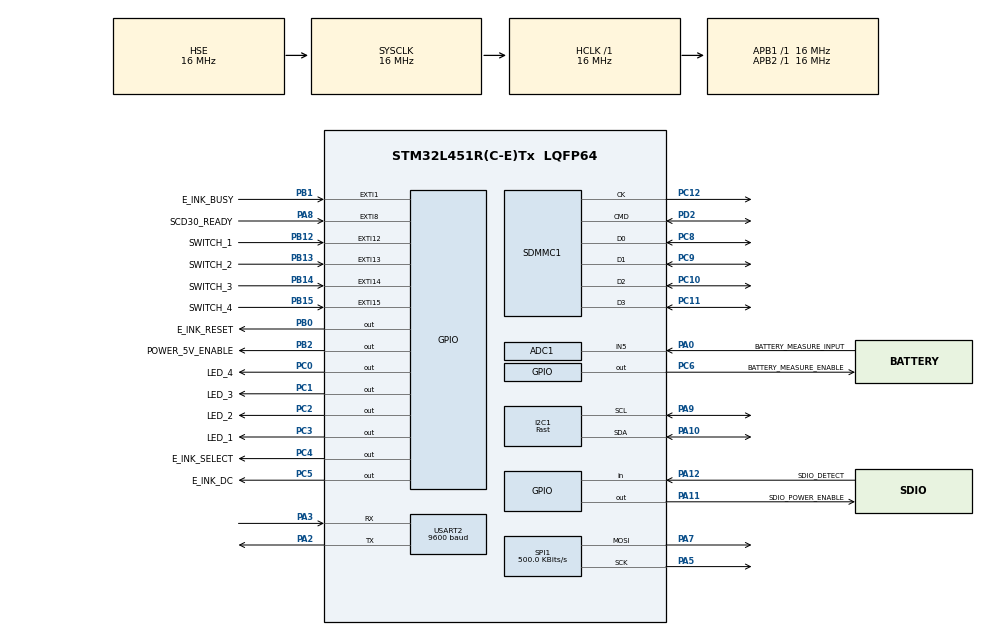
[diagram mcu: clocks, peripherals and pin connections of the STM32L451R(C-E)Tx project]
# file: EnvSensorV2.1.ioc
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ADC1.Channel-0\#ChannelRegularConversion=ADC_CHANNEL_5
ADC1.NbrOfConversionFlag=1
ADC1.OffsetNumber-0\#ChannelRegularConversion=ADC_OFFSET_NONE
ADC1.Rank-0\#ChannelRegularConversion=1
ADC1.SamplingTime-0\#ChannelRegularConversion=ADC_SAMPLETIME_2CYCLES_5
ADC1.master=1
Dma.Request0=SDMMC1_RX
Dma.SDMMC1_RX.0.Direction=DMA_PERIPH_TO_MEMORY
Dma.SDMMC1_RX.0.Instance=DMA2_Channel4
Dma.SDMMC1_RX.0.MemDataAlignment=DMA_MDATAALIGN_WORD
Dma.SDMMC1_RX.0.MemInc=DMA_MINC_ENABLE
Dma.SDMMC1_RX.0.Mode=DMA_NORMAL
Dma.SDMMC1_RX.0.PeriphDataAlignment=DMA_PDATAALIGN_WORD
Dma.SDMMC1_RX.0.PeriphInc=DMA_PINC_DISABLE
Dma.SDMMC1_RX.0.Priority=DMA_PRIORITY_LOW
FATFS.BSP.number=1
FATFS._USE_LFN=2
FATFS0.BSP.STBoard=false
FATFS0.BSP.api=Unknown
FATFS0.BSP.instance=PA12
FATFS0.BSP.ip=GPIO
FATFS0.BSP.mode=Input
FATFS0.BSP.name=Detect_SDIO
FATFS0.BSP.solution=PA12
FREERTOS.HEAP_NUMBER=3
FREERTOS.Mutexes01=i2c1Mutex,Static,i2c1MutexControlBlock,Available
FREERTOS.Queues01=debugLogQueue,16,30,1,Dynamic,NULL,NULL;sensorReadoutsQueue,6,ReadoutMessage_t,0,Dynamic,NULL,NULL;displayCommandsQueue,6,DisplayCommandMessage_t,0,Dynamic,NULL,NULL
FREERTOS.Tasks01=defaultTask,24,1024,StartDefaultTask,Default,NULL,Static,defaultTaskBuffer,defaultTaskControlBlock
FREERTOS.configTOTAL_HEAP_SIZE=1000
FREERTOS.configUSE_NEWLIB_REENTRANT=1
I2C1.I2C_Speed_Mode=I2C_Fast
I2C1.Timing=0x00300617
Mcu.Family=STM32L4
Mcu.Name=STM32L451R(C-E)Tx
Mcu.Package=LQFP64
NVIC.DMA2_Channel4_IRQn=true\:5\:0\:false\:false\:true\:true\:false\:true\:true
NVIC.EXTI15_10_IRQn=true\:5\:0\:false\:false\:true\:true\:true\:true\:true
NVIC.EXTI1_IRQn=true\:5\:0\:false\:false\:true\:true\:true\:true\:true
NVIC.EXTI9_5_IRQn=true\:5\:0\:false\:false\:true\:true\:true\:true\:true
NVIC.PriorityGroup=NVIC_PRIORITYGROUP_4
NVIC.SDMMC1_IRQn=true\:5\:0\:false\:false\:true\:true\:true\:true\:true
NVIC.TIM6_DAC_IRQn=true\:15\:0\:false\:false\:true\:false\:false\:true\:true
NVIC.TimeBase=TIM6_DAC_IRQn
NVIC.TimeBaseIP=TIM6
NVIC.USART2_IRQn=true\:5\:0\:false\:false\:true\:true\:true\:true\:true
PA0.GPIO_Label=BATTERY_MEASURE_INPUT
PA0.Signal=ADCx_IN5
PA10.Mode=I2C
PA10.Signal=I2C1_SDA
PA11.GPIO_Label=SDIO_POWER_ENABLE
PA11.PinState=GPIO_PIN_RESET
PA11.Signal=GPIO_Output
PA12.GPIO_Label=SDIO_DETECT
PA12.GPIO_PuPd=GPIO_PULLUP
PA12.Signal=GPIO_Input
PA13\ (JTMS/SWDIO).Mode=Trace_Asynchronous_SW
PA13\ (JTMS/SWDIO).Signal=SYS_JTMS-SWDIO
PA14\ (JTCK/SWCLK).Mode=Trace_Asynchronous_SW
PA14\ (JTCK/SWCLK).Signal=SYS_JTCK-SWCLK
PA2.Mode=Asynchronous
PA2.Signal=USART2_TX
PA3.Mode=Asynchronous
PA3.Signal=USART2_RX
PA5.Mode=TX_Only_Simplex_Unidirect_Master
PA5.Signal=SPI1_SCK
PA7.Mode=TX_Only_Simplex_Unidirect_Master
PA7.Signal=SPI1_MOSI
PA8.GPIO_Label=SCD30_READY
PA8.Signal=GPXTI8
PA9.Mode=I2C
PA9.Signal=I2C1_SCL
PB0.GPIO_Label=E_INK_RESET
PB0.Signal=GPIO_Output
PB1.GPIO_Label=E_INK_BUSY
PB1.Signal=GPXTI1
PB12.GPIO_Label=SWITCH_1
PB12.Signal=GPXTI12
PB13.GPIO_Label=SWITCH_2
PB13.Signal=GPXTI13
PB14.GPIO_Label=SWITCH_3
PB14.Signal=GPXTI14
PB15.GPIO_Label=SWITCH_4
PB15.Signal=GPXTI15
PB2.GPIO_Label=POWER_5V_ENABLE
PB2.PinState=GPIO_PIN_RESET
PB2.Signal=GPIO_Output
PB3\ (JTDO/TRACESWO).Mode=Trace_Asynchronous_SW
PB3\ (JTDO/TRACESWO).Signal=SYS_JTDO-SWO
PC0.GPIO_Label=LED_4
PC0.Signal=GPIO_Output
PC1.GPIO_Label=LED_3
PC1.Signal=GPIO_Output
PC10.GPIO_PuPd=GPIO_PULLUP
PC10.GPIO_Speed_High_Default=GPIO_SPEED_FREQ_LOW
PC10.Mode=SD_4_bits_Wide_bus
PC10.Signal=SDMMC1_D2
PC11.GPIO_PuPd=GPIO_PULLUP
PC11.GPIO_Speed_High_Default=GPIO_SPEED_FREQ_LOW
PC11.Mode=SD_4_bits_Wide_bus
PC11.Signal=SDMMC1_D3
PC12.GPIO_Speed_High_Default=GPIO_SPEED_FREQ_LOW
PC12.Mode=SD_4_bits_Wide_bus
PC12.Signal=SDMMC1_CK
PC14-OSC32_IN\ (PC14).Mode=LSE-External-Oscillator
PC14-OSC32_IN\ (PC14).Signal=RCC_OSC32_IN
PC15-OSC32_OUT\ (PC15).Mode=LSE-External-Oscillator
PC15-OSC32_OUT\ (PC15).Signal=RCC_OSC32_OUT
PC2.GPIO_Label=LED_2
PC2.Signal=GPIO_Output
PC3.GPIO_Label=LED_1
PC3.Signal=GPIO_Output
PC4.GPIO_Label=E_INK_SELECT
PC4.Signal=GPIO_Output
PC5.GPIO_Label=E_INK_DC
PC5.GPIO_Speed=GPIO_SPEED_FREQ_HIGH
PC5.Signal=GPIO_Output
PC6.GPIO_Label=BATTERY_MEASURE_ENABLE
PC6.Signal=GPIO_Output
PC8.GPIO_Speed_High_Default=GPIO_SPEED_FREQ_LOW
PC8.Mode=SD_4_bits_Wide_bus
PC8.Signal=SDMMC1_D0
PC9.GPIO_Speed_High_Default=GPIO_SPEED_FREQ_LOW
PC9.Mode=SD_4_bits_Wide_bus
PC9.Signal=SDMMC1_D1
PD2.GPIO_PuPd=GPIO_PULLUP
PD2.GPIO_Speed_High_Default=GPIO_SPEED_FREQ_LOW
PD2.Mode=SD_4_bits_Wide_bus
PD2.Signal=SDMMC1_CMD
PH0-OSC_IN\ (PH0).Mode=HSE-External-Oscillator
PH0-OSC_IN\ (PH0).Signal=RCC_OSC_IN
PH1-OSC_OUT\ (PH1).Mode=HSE-External-Oscillator
PH1-OSC_OUT\ (PH1).Signal=RCC_OSC_OUT
ProjectManager.HeapSize=0x200
ProjectManager.StackSize=0x400
ProjectManager.TargetToolchain=STM32CubeIDE
RCC.ADCFreq_Value=32000000
RCC.AHBFreq_Value=16000000
RCC.APB1Freq_Value=16000000
RCC.APB1TimFreq_Value=16000000
RCC.APB2Freq_Value=16000000
RCC.APB2TimFreq_Value=16000000
RCC.CK48CLockSelection=RCC_USBCLKSOURCE_HSI48
RCC.CortexFreq_Value=16000000
RCC.HCLKFreq_Value=16000000
RCC.HSE_VALUE=16000000
RCC.HSI48_VALUE=48000000
RCC.HSI_VALUE=16000000
RCC.LSE_Drive_Capability=RCC_LSEDRIVE_HIGH
RCC.LSE_Timout=10000
RCC.MSI_VALUE=4000000
RCC.PLLSAI1N=16
RCC.RCC_MCO1Source=RCC_MCO1SOURCE_LSI
RCC.RTCClockSelection=RCC_RTCCLKSOURCE_LSE
RCC.SYSCLKFreq_VALUE=16000000
RCC.SYSCLKSource=RCC_SYSCLKSOURCE_HSE
RCC.VCOOutputFreq_Value=32000000
SDMMC1.ClockDiv=4
SH.ADCx_IN5.0=ADC1_IN5,IN5-Single-Ended
SPI1.BaudRatePrescaler=SPI_BAUDRATEPRESCALER_32
SPI1.CalculateBaudRate=500.0 KBits/s
SPI1.DataSize=SPI_DATASIZE_8BIT
SPI1.Direction=SPI_DIRECTION_2LINES
SPI1.Mode=SPI_MODE_MASTER
SPI1.VirtualType=VM_MASTER
STMicroelectronics.X-CUBE-TOUCHGFX.4.24.0.ApplicationCcGraphicsJjApplication=TouchGFXOoGenerator
STMicroelectronics.X-CUBE-TOUCHGFX.4.24.0.tgfx_custom_height=300
STMicroelectronics.X-CUBE-TOUCHGFX.4.24.0.tgfx_custom_width=400
STMicroelectronics.X-CUBE-TOUCHGFX.4.24.0.tgfx_pixel_format=Grey2\:2
STMicroelectronics.X-CUBE-TOUCHGFX.4.24.0_IsPackSelfContextualization=true
USART2.BaudRate=9600
USART2.VirtualMode-Asynchronous=VM_ASYNC
VP_CRC_VS_CRC.Mode=CRC_Activate
VP_FATFS_VS_SDIO.Mode=SDIO
VP_FREERTOS_VS_CMSIS_V2.Mode=CMSIS_V2
VP_RTC_VS_RTC_Activate.Mode=RTC_Enabled
VP_STMicroelectronics.X-CUBE-TOUCHGFX_VS_GraphicsJjApplication_4.24.0.Mode=GraphicsJjApplication
VP_SYS_VS_tim6.Mode=TIM6
board=custom

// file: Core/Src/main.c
/* USER CODE BEGIN Header */
/**
  ******************************************************************************
  * @file           : main.c
  * @brief          : Main program body
  ******************************************************************************
  * @attention
  *
  * Copyright (c) 2024 STMicroelectronics.
  * All rights reserved.
  *
  * This software is licensed under terms that can be found in the LICENSE file
  * in the root directory of this software component.
  * If no LICENSE file comes with this software, it is provided AS-IS.
  *
  ******************************************************************************
  */
/* USER CODE END Header */
#include "main.h"
#include "cmsis_os.h"
#include "fatfs.h"
#include "app_touchgfx.h"

/* USER CODE BEGIN Includes */
#include <EnvSensorV2_1.hpp>
#include <Readouts/Collector/SensorMessages.hpp>
#include <Display/DisplayCommandMessage.hpp>
/* USER CODE END Includes */

typedef StaticTask_t osStaticThreadDef_t;
typedef StaticSemaphore_t osStaticMutexDef_t;

ADC_HandleTypeDef hadc1;

CRC_HandleTypeDef hcrc;

I2C_HandleTypeDef hi2c1;

RTC_HandleTypeDef hrtc;

SD_HandleTypeDef hsd1;
DMA_HandleTypeDef hdma_sdmmc1_rx;

SPI_HandleTypeDef hspi1;

UART_HandleTypeDef huart2;

/* Definitions for defaultTask */
osThreadId_t defaultTaskHandle;
uint32_t defaultTaskBuffer[ 1024 ];
osStaticThreadDef_t defaultTaskControlBlock;
const osThreadAttr_t defaultTask_attributes = {
  .name = "defaultTask",
  .cb_mem = &defaultTaskControlBlock,
  .cb_size = sizeof(defaultTaskControlBlock),
  .stack_mem = &defaultTaskBuffer[0],
  .stack_size = sizeof(defaultTaskBuffer),
  .priority = (osPriority_t) osPriorityNormal,
};
/* Definitions for debugLogQueue */
osMessageQueueId_t debugLogQueueHandle;
const osMessageQueueAttr_t debugLogQueue_attributes = {
  .name = "debugLogQueue"
};
/* Definitions for sensorReadoutsQueue */
osMessageQueueId_t sensorReadoutsQueueHandle;
const osMessageQueueAttr_t sensorReadoutsQueue_attributes = {
  .name = "sensorReadoutsQueue"
};
/* Definitions for displayCommandsQueue */
osMessageQueueId_t displayCommandsQueueHandle;
const osMessageQueueAttr_t displayCommandsQueue_attributes = {
  .name = "displayCommandsQueue"
};
/* Definitions for i2c1Mutex */
osMutexId_t i2c1MutexHandle;
osStaticMutexDef_t i2c1MutexControlBlock;
const osMutexAttr_t i2c1Mutex_attributes = {
  .name = "i2c1Mutex",
  .cb_mem = &i2c1MutexControlBlock,
  .cb_size = sizeof(i2c1MutexControlBlock),
};

void SystemClock_Config(void);
static void MX_GPIO_Init(void);
static void MX_DMA_Init(void);
static void MX_I2C1_Init(void);
static void MX_ADC1_Init(void);
static void MX_CRC_Init(void);
static void MX_SPI1_Init(void);
static void MX_USART2_UART_Init(void);
static void MX_SDMMC1_SD_Init(void);
static void MX_RTC_Init(void);
void StartDefaultTask(void *argument);

/* USER CODE BEGIN PFP */
	//Create config functions for rx and tx dma
    static HAL_StatusTypeDef SD_DMAConfigRx(SD_HandleTypeDef *hsd);
    static HAL_StatusTypeDef SD_DMAConfigTx(SD_HandleTypeDef *hsd);
/* USER CODE END PFP */

int main(void)
{

  /* MCU Configuration--------------------------------------------------------*/

  /* Reset of all peripherals, Initializes the Flash interface and the Systick. */
  HAL_Init();

  /* Configure the system clock */
  SystemClock_Config();

  /* Initialize all configured peripherals */
  MX_GPIO_Init();
  MX_DMA_Init();
  MX_I2C1_Init();
  MX_ADC1_Init();
  MX_CRC_Init();
  MX_SPI1_Init();
  MX_USART2_UART_Init();
  MX_FATFS_Init();
  MX_SDMMC1_SD_Init();
  MX_RTC_Init();
  MX_TouchGFX_Init();
  /* Call PreOsInit function */
  MX_TouchGFX_PreOSInit();
  /* USER CODE BEGIN 2 */

  HAL_PWREx_EnableBatteryCharging(PWR_BATTERY_CHARGING_RESISTOR_1_5);

  /* USER CODE END 2 */

  /* Init scheduler */
  osKernelInitialize();
  /* Create the mutex(es) */
  /* creation of i2c1Mutex */
  i2c1MutexHandle = osMutexNew(&i2c1Mutex_attributes);

  /* Create the queue(s) */
  /* creation of debugLogQueue */
  debugLogQueueHandle = osMessageQueueNew (16, 30, &debugLogQueue_attributes);

  /* creation of sensorReadoutsQueue */
  sensorReadoutsQueueHandle = osMessageQueueNew (6, sizeof(ReadoutMessage_t), &sensorReadoutsQueue_attributes);

  /* creation of displayCommandsQueue */
  displayCommandsQueueHandle = osMessageQueueNew (6, sizeof(DisplayCommandMessage_t), &displayCommandsQueue_attributes);

  /* Create the thread(s) */
  /* creation of defaultTask */
  defaultTaskHandle = osThreadNew(StartDefaultTask, NULL, &defaultTask_attributes);

  /* USER CODE BEGIN RTOS_THREADS */
  EnvSensorV2_1_Init();
  /* USER CODE END RTOS_THREADS */

  /* Start scheduler */
  osKernelStart();

  /* We should never get here as control is now taken by the scheduler */

  /* Infinite loop */
  while (1)
  {

  }
}

void SystemClock_Config(void)
{
  RCC_OscInitTypeDef RCC_OscInitStruct = {0};
  RCC_ClkInitTypeDef RCC_ClkInitStruct = {0};

  /** Configure the main internal regulator output voltage
  */
  if (HAL_PWREx_ControlVoltageScaling(PWR_REGULATOR_VOLTAGE_SCALE1) != HAL_OK)
  {
    Error_Handler();
  }

  /** Configure LSE Drive Capability
  */
  HAL_PWR_EnableBkUpAccess();
  __HAL_RCC_LSEDRIVE_CONFIG(RCC_LSEDRIVE_HIGH);

  /** Initializes the RCC Oscillators according to the specified parameters
  * in the RCC_OscInitTypeDef structure.
  */
  RCC_OscInitStruct.OscillatorType = RCC_OSCILLATORTYPE_HSI48|RCC_OSCILLATORTYPE_HSE
                              |RCC_OSCILLATORTYPE_LSE|RCC_OSCILLATORTYPE_MSI;
  RCC_OscInitStruct.HSEState = RCC_HSE_ON;
  RCC_OscInitStruct.LSEState = RCC_LSE_ON;
  RCC_OscInitStruct.HSI48State = RCC_HSI48_ON;
  RCC_OscInitStruct.MSIState = RCC_MSI_ON;
  RCC_OscInitStruct.MSICalibrationValue = 0;
  RCC_OscInitStruct.MSIClockRange = RCC_MSIRANGE_6;
  RCC_OscInitStruct.PLL.PLLState = RCC_PLL_NONE;
  if (HAL_RCC_OscConfig(&RCC_OscInitStruct) != HAL_OK)
  {
    Error_Handler();
  }

  /** Initializes the CPU, AHB and APB buses clocks
  */
  RCC_ClkInitStruct.ClockType = RCC_CLOCKTYPE_HCLK|RCC_CLOCKTYPE_SYSCLK
                              |RCC_CLOCKTYPE_PCLK1|RCC_CLOCKTYPE_PCLK2;
  RCC_ClkInitStruct.SYSCLKSource = RCC_SYSCLKSOURCE_HSE;
  RCC_ClkInitStruct.AHBCLKDivider = RCC_SYSCLK_DIV1;
  RCC_ClkInitStruct.APB1CLKDivider = RCC_HCLK_DIV1;
  RCC_ClkInitStruct.APB2CLKDivider = RCC_HCLK_DIV1;

  if (HAL_RCC_ClockConfig(&RCC_ClkInitStruct, FLASH_LATENCY_0) != HAL_OK)
  {
    Error_Handler();
  }

  /** Enable MSI Auto calibration
  */
  HAL_RCCEx_EnableMSIPLLMode();
}

static void MX_ADC1_Init(void)
{

  ADC_ChannelConfTypeDef sConfig = {0};

  /** Common config
  */
  hadc1.Instance = ADC1;
  hadc1.Init.ClockPrescaler = ADC_CLOCK_ASYNC_DIV1;
  hadc1.Init.Resolution = ADC_RESOLUTION_12B;
  hadc1.Init.DataAlign = ADC_DATAALIGN_RIGHT;
  hadc1.Init.ScanConvMode = ADC_SCAN_DISABLE;
  hadc1.Init.EOCSelection = ADC_EOC_SINGLE_CONV;
  hadc1.Init.LowPowerAutoWait = DISABLE;
  hadc1.Init.ContinuousConvMode = DISABLE;
  hadc1.Init.NbrOfConversion = 1;
  hadc1.Init.DiscontinuousConvMode = DISABLE;
  hadc1.Init.ExternalTrigConv = ADC_SOFTWARE_START;
  hadc1.Init.ExternalTrigConvEdge = ADC_EXTERNALTRIGCONVEDGE_NONE;
  hadc1.Init.DMAContinuousRequests = DISABLE;
  hadc1.Init.Overrun = ADC_OVR_DATA_PRESERVED;
  hadc1.Init.OversamplingMode = DISABLE;
  if (HAL_ADC_Init(&hadc1) != HAL_OK)
  {
    Error_Handler();
  }

  /** Configure Regular Channel
  */
  sConfig.Channel = ADC_CHANNEL_5;
  sConfig.Rank = ADC_REGULAR_RANK_1;
  sConfig.SamplingTime = ADC_SAMPLETIME_2CYCLES_5;
  sConfig.SingleDiff = ADC_SINGLE_ENDED;
  sConfig.OffsetNumber = ADC_OFFSET_NONE;
  sConfig.Offset = 0;
  if (HAL_ADC_ConfigChannel(&hadc1, &sConfig) != HAL_OK)
  {
    Error_Handler();
  }

}

static void MX_CRC_Init(void)
{

  hcrc.Instance = CRC;
  hcrc.Init.DefaultPolynomialUse = DEFAULT_POLYNOMIAL_ENABLE;
  hcrc.Init.DefaultInitValueUse = DEFAULT_INIT_VALUE_ENABLE;
  hcrc.Init.InputDataInversionMode = CRC_INPUTDATA_INVERSION_NONE;
  hcrc.Init.OutputDataInversionMode = CRC_OUTPUTDATA_INVERSION_DISABLE;
  hcrc.InputDataFormat = CRC_INPUTDATA_FORMAT_BYTES;
  if (HAL_CRC_Init(&hcrc) != HAL_OK)
  {
    Error_Handler();
  }

}

static void MX_I2C1_Init(void)
{

  hi2c1.Instance = I2C1;
  hi2c1.Init.Timing = 0x00300617;
  hi2c1.Init.OwnAddress1 = 0;
  hi2c1.Init.AddressingMode = I2C_ADDRESSINGMODE_7BIT;
  hi2c1.Init.DualAddressMode = I2C_DUALADDRESS_DISABLE;
  hi2c1.Init.OwnAddress2 = 0;
  hi2c1.Init.OwnAddress2Masks = I2C_OA2_NOMASK;
  hi2c1.Init.GeneralCallMode = I2C_GENERALCALL_DISABLE;
  hi2c1.Init.NoStretchMode = I2C_NOSTRETCH_DISABLE;
  if (HAL_I2C_Init(&hi2c1) != HAL_OK)
  {
    Error_Handler();
  }

  /** Configure Analogue filter
  */
  if (HAL_I2CEx_ConfigAnalogFilter(&hi2c1, I2C_ANALOGFILTER_ENABLE) != HAL_OK)
  {
    Error_Handler();
  }

  /** Configure Digital filter
  */
  if (HAL_I2CEx_ConfigDigitalFilter(&hi2c1, 0) != HAL_OK)
  {
    Error_Handler();
  }

}

static void MX_RTC_Init(void)
{

  /** Initialize RTC Only
  */
  hrtc.Instance = RTC;
  hrtc.Init.HourFormat = RTC_HOURFORMAT_24;
  hrtc.Init.AsynchPrediv = 127;
  hrtc.Init.SynchPrediv = 255;
  hrtc.Init.OutPut = RTC_OUTPUT_DISABLE;
  hrtc.Init.OutPutRemap = RTC_OUTPUT_REMAP_NONE;
  hrtc.Init.OutPutPolarity = RTC_OUTPUT_POLARITY_HIGH;
  hrtc.Init.OutPutType = RTC_OUTPUT_TYPE_OPENDRAIN;
  if (HAL_RTC_Init(&hrtc) != HAL_OK)
  {
    Error_Handler();
  }

}

static void MX_SDMMC1_SD_Init(void)
{

  hsd1.Instance = SDMMC1;
  hsd1.Init.ClockEdge = SDMMC_CLOCK_EDGE_RISING;
  hsd1.Init.ClockBypass = SDMMC_CLOCK_BYPASS_DISABLE;
  hsd1.Init.ClockPowerSave = SDMMC_CLOCK_POWER_SAVE_DISABLE;
  hsd1.Init.BusWide = SDMMC_BUS_WIDE_4B;
  hsd1.Init.HardwareFlowControl = SDMMC_HARDWARE_FLOW_CONTROL_DISABLE;
  hsd1.Init.ClockDiv = 4;

}

static void MX_SPI1_Init(void)
{

  /* SPI1 parameter configuration*/
  hspi1.Instance = SPI1;
  hspi1.Init.Mode = SPI_MODE_MASTER;
  hspi1.Init.Direction = SPI_DIRECTION_2LINES;
  hspi1.Init.DataSize = SPI_DATASIZE_8BIT;
  hspi1.Init.CLKPolarity = SPI_POLARITY_LOW;
  hspi1.Init.CLKPhase = SPI_PHASE_1EDGE;
  hspi1.Init.NSS = SPI_NSS_SOFT;
  hspi1.Init.BaudRatePrescaler = SPI_BAUDRATEPRESCALER_32;
  hspi1.Init.FirstBit = SPI_FIRSTBIT_MSB;
  hspi1.Init.TIMode = SPI_TIMODE_DISABLE;
  hspi1.Init.CRCCalculation = SPI_CRCCALCULATION_DISABLE;
  hspi1.Init.CRCPolynomial = 7;
  hspi1.Init.CRCLength = SPI_CRC_LENGTH_DATASIZE;
  hspi1.Init.NSSPMode = SPI_NSS_PULSE_ENABLE;
  if (HAL_SPI_Init(&hspi1) != HAL_OK)
  {
    Error_Handler();
  }

}

static void MX_USART2_UART_Init(void)
{

  huart2.Instance = USART2;
  huart2.Init.BaudRate = 9600;
  huart2.Init.WordLength = UART_WORDLENGTH_8B;
  huart2.Init.StopBits = UART_STOPBITS_1;
  huart2.Init.Parity = UART_PARITY_NONE;
  huart2.Init.Mode = UART_MODE_TX_RX;
  huart2.Init.HwFlowCtl = UART_HWCONTROL_NONE;
  huart2.Init.OverSampling = UART_OVERSAMPLING_16;
  huart2.Init.OneBitSampling = UART_ONE_BIT_SAMPLE_DISABLE;
  huart2.AdvancedInit.AdvFeatureInit = UART_ADVFEATURE_NO_INIT;
  if (HAL_UART_Init(&huart2) != HAL_OK)
  {
    Error_Handler();
  }

}

static void MX_DMA_Init(void)
{

  /* DMA controller clock enable */
  __HAL_RCC_DMA2_CLK_ENABLE();

  /* DMA interrupt init */
  /* DMA2_Channel4_IRQn interrupt configuration */
  HAL_NVIC_SetPriority(DMA2_Channel4_IRQn, 5, 0);
  HAL_NVIC_EnableIRQ(DMA2_Channel4_IRQn);

}

static void MX_GPIO_Init(void)
{
  GPIO_InitTypeDef GPIO_InitStruct = {0};

  /* GPIO Ports Clock Enable */
  __HAL_RCC_GPIOC_CLK_ENABLE();
  __HAL_RCC_GPIOH_CLK_ENABLE();
  __HAL_RCC_GPIOA_CLK_ENABLE();
  __HAL_RCC_GPIOB_CLK_ENABLE();
  __HAL_RCC_GPIOD_CLK_ENABLE();

  /*Configure GPIO pin Output Level */
  HAL_GPIO_WritePin(GPIOC, LED_4_Pin|LED_3_Pin|LED_2_Pin|LED_1_Pin
                          |E_INK_SELECT_Pin|E_INK_DC_Pin|BATTERY_MEASURE_ENABLE_Pin, GPIO_PIN_RESET);

  /*Configure GPIO pin Output Level */
  HAL_GPIO_WritePin(GPIOB, E_INK_RESET_Pin|POWER_5V_ENABLE_Pin, GPIO_PIN_RESET);

  /*Configure GPIO pin Output Level */
  HAL_GPIO_WritePin(SDIO_POWER_ENABLE_GPIO_Port, SDIO_POWER_ENABLE_Pin, GPIO_PIN_RESET);

  /*Configure GPIO pins : LED_4_Pin LED_3_Pin LED_2_Pin LED_1_Pin
                           E_INK_SELECT_Pin BATTERY_MEASURE_ENABLE_Pin */
  GPIO_InitStruct.Pin = LED_4_Pin|LED_3_Pin|LED_2_Pin|LED_1_Pin
                          |E_INK_SELECT_Pin|BATTERY_MEASURE_ENABLE_Pin;
  GPIO_InitStruct.Mode = GPIO_MODE_OUTPUT_PP;
  GPIO_InitStruct.Pull = GPIO_NOPULL;
  GPIO_InitStruct.Speed = GPIO_SPEED_FREQ_LOW;
  HAL_GPIO_Init(GPIOC, &GPIO_InitStruct);

  /*Configure GPIO pin : E_INK_DC_Pin */
  GPIO_InitStruct.Pin = E_INK_DC_Pin;
  GPIO_InitStruct.Mode = GPIO_MODE_OUTPUT_PP;
  GPIO_InitStruct.Pull = GPIO_NOPULL;
  GPIO_InitStruct.Speed = GPIO_SPEED_FREQ_HIGH;
  HAL_GPIO_Init(E_INK_DC_GPIO_Port, &GPIO_InitStruct);

  /*Configure GPIO pins : E_INK_RESET_Pin POWER_5V_ENABLE_Pin */
  GPIO_InitStruct.Pin = E_INK_RESET_Pin|POWER_5V_ENABLE_Pin;
  GPIO_InitStruct.Mode = GPIO_MODE_OUTPUT_PP;
  GPIO_InitStruct.Pull = GPIO_NOPULL;
  GPIO_InitStruct.Speed = GPIO_SPEED_FREQ_LOW;
  HAL_GPIO_Init(GPIOB, &GPIO_InitStruct);

  /*Configure GPIO pins : E_INK_BUSY_Pin SWITCH_1_Pin SWITCH_2_Pin SWITCH_3_Pin
                           SWITCH_4_Pin */
  GPIO_InitStruct.Pin = E_INK_BUSY_Pin|SWITCH_1_Pin|SWITCH_2_Pin|SWITCH_3_Pin
                          |SWITCH_4_Pin;
  GPIO_InitStruct.Mode = GPIO_MODE_IT_RISING;
  GPIO_InitStruct.Pull = GPIO_NOPULL;
  HAL_GPIO_Init(GPIOB, &GPIO_InitStruct);

  /*Configure GPIO pin : SCD30_READY_Pin */
  GPIO_InitStruct.Pin = SCD30_READY_Pin;
  GPIO_InitStruct.Mode = GPIO_MODE_IT_RISING;
  GPIO_InitStruct.Pull = GPIO_NOPULL;
  HAL_GPIO_Init(SCD30_READY_GPIO_Port, &GPIO_InitStruct);

  /*Configure GPIO pin : SDIO_POWER_ENABLE_Pin */
  GPIO_InitStruct.Pin = SDIO_POWER_ENABLE_Pin;
  GPIO_InitStruct.Mode = GPIO_MODE_OUTPUT_PP;
  GPIO_InitStruct.Pull = GPIO_NOPULL;
  GPIO_InitStruct.Speed = GPIO_SPEED_FREQ_LOW;
  HAL_GPIO_Init(SDIO_POWER_ENABLE_GPIO_Port, &GPIO_InitStruct);

  /*Configure GPIO pin : SDIO_DETECT_Pin */
  GPIO_InitStruct.Pin = SDIO_DETECT_Pin;
  GPIO_InitStruct.Mode = GPIO_MODE_INPUT;
  GPIO_InitStruct.Pull = GPIO_PULLUP;
  HAL_GPIO_Init(SDIO_DETECT_GPIO_Port, &GPIO_InitStruct);

  /* EXTI interrupt init*/
  HAL_NVIC_SetPriority(EXTI1_IRQn, 5, 0);
  HAL_NVIC_EnableIRQ(EXTI1_IRQn);

  HAL_NVIC_SetPriority(EXTI9_5_IRQn, 5, 0);
  HAL_NVIC_EnableIRQ(EXTI9_5_IRQn);

  HAL_NVIC_SetPriority(EXTI15_10_IRQn, 5, 0);
  HAL_NVIC_EnableIRQ(EXTI15_10_IRQn);

}

/* USER CODE BEGIN 4 */
/**
      * @brief Configure the DMA to receive data from the SD card
      * @retval
      *  HAL_ERROR or HAL_OK
      */
    static HAL_StatusTypeDef SD_DMAConfigRx(SD_HandleTypeDef *hsd)
    {
      static DMA_HandleTypeDef hdma_rx;
      HAL_StatusTypeDef status = HAL_ERROR;

      /* Configure DMA Rx parameters */
      hdma_rx.Init.Request             = DMA_REQUEST_7;
      hdma_rx.Init.Direction           = DMA_PERIPH_TO_MEMORY;
      hdma_rx.Init.PeriphInc           = DMA_PINC_DISABLE;
      hdma_rx.Init.MemInc              = DMA_MINC_ENABLE;
      hdma_rx.Init.PeriphDataAlignment = DMA_PDATAALIGN_WORD;
      hdma_rx.Init.MemDataAlignment    = DMA_MDATAALIGN_WORD;
      hdma_rx.Init.Priority            = DMA_PRIORITY_VERY_HIGH;

      hdma_rx.Instance = DMA2_Channel4;

      /* Associate the DMA handle */
      __HAL_LINKDMA(hsd, hdmarx, hdma_rx);

      /* Stop any ongoing transfer and reset the state*/
      HAL_DMA_Abort(&hdma_rx);

      /* Deinitialize the Channel for new transfer */
      HAL_DMA_DeInit(&hdma_rx);

      /* Configure the DMA Channel */
      status = HAL_DMA_Init(&hdma_rx);

      /* NVIC configuration for DMA transfer complete interrupt */
      HAL_NVIC_SetPriority(DMA2_Channel4_IRQn, 6, 0);
      HAL_NVIC_EnableIRQ(DMA2_Channel4_IRQn);

      return (status);
    }

    /**
      * @brief Configure the DMA to transmit data to the SD card
      * @retval
      *  HAL_ERROR or HAL_OK
      */
    static HAL_StatusTypeDef SD_DMAConfigTx(SD_HandleTypeDef *hsd)
    {
      static DMA_HandleTypeDef hdma_tx;
      HAL_StatusTypeDef status;

      /* Configure DMA Tx parameters */
      hdma_tx.Init.Request             = DMA_REQUEST_7;
      hdma_tx.Init.Direction           = DMA_MEMORY_TO_PERIPH;
      hdma_tx.Init.PeriphInc           = DMA_PINC_DISABLE;
      hdma_tx.Init.MemInc              = DMA_MINC_ENABLE;
      hdma_tx.Init.PeriphDataAlignment = DMA_PDATAALIGN_WORD;
      hdma_tx.Init.MemDataAlignment    = DMA_MDATAALIGN_WORD;
      hdma_tx.Init.Priority            = DMA_PRIORITY_VERY_HIGH;

      hdma_tx.Instance = DMA2_Channel4;

      /* Associate the DMA handle */
      __HAL_LINKDMA(hsd, hdmatx, hdma_tx);

      /* Stop any ongoing transfer and reset the state*/
      HAL_DMA_Abort(&hdma_tx);

      /* Deinitialize the Channel for new transfer */
      HAL_DMA_DeInit(&hdma_tx);

      /* Configure the DMA Channel */
      status = HAL_DMA_Init(&hdma_tx);

      /* NVIC configuration for DMA transfer complete interrupt */
      HAL_NVIC_SetPriority(DMA2_Channel4_IRQn, 6, 0);
      HAL_NVIC_EnableIRQ(DMA2_Channel4_IRQn);

      return (status);
    }

    //Override DMA write functions
    uint8_t BSP_SD_WriteBlocks_DMA(uint32_t *pData, uint32_t WriteAddr, uint32_t NumOfBlocks)
    {
      uint8_t sd_state = MSD_OK;

      // Invalidate the dma rx handle
      hsd1.hdmarx = NULL;

      // Prepare the dma channel for a read operation
      sd_state = SD_DMAConfigTx(&hsd1);

      if(sd_state == HAL_OK)
      {
        /* Write block(s) in DMA transfer mode */
        sd_state = HAL_SD_WriteBlocks_DMA(&hsd1, (uint8_t *)pData, WriteAddr, NumOfBlocks);
      }

      if( sd_state == HAL_OK)
      {
        return MSD_OK;
      }
      else
      {
        return MSD_ERROR;
      }

      return sd_state;
    }

    //Override DMA read functions
    uint8_t BSP_SD_ReadBlocks_DMA(uint32_t *pData, uint32_t ReadAddr, uint32_t NumOfBlocks)
    {
      uint8_t sd_state = MSD_OK;
      /* Invalidate the dma tx handle*/
      hsd1.hdmatx = NULL;

      /* Prepare the dma channel for a read operation */
      sd_state = SD_DMAConfigRx(&hsd1);

      if(sd_state == HAL_OK)
      {
           /* Read block(s) in DMA transfer mode */
            sd_state = HAL_SD_ReadBlocks_DMA(&hsd1, (uint8_t *)pData, ReadAddr, NumOfBlocks);
      }

      if( sd_state == HAL_OK)
      {
        return MSD_OK;
      }
      else
      {
        return MSD_ERROR;
      }
    }

/* USER CODE END 4 */

void StartDefaultTask(void *argument)
{
  /* USER CODE BEGIN 5 */
	MX_TouchGFX_Process();
  /* Infinite loop */
  for(;;)
  {
    osDelay(1);
  }
  /* USER CODE END 5 */
}

void HAL_TIM_PeriodElapsedCallback(TIM_HandleTypeDef *htim)
{
  if (htim->Instance == TIM6) {
    HAL_IncTick();
  }
}

void Error_Handler(void)
{
  __disable_irq();
  while (1)
  {
  }
}
